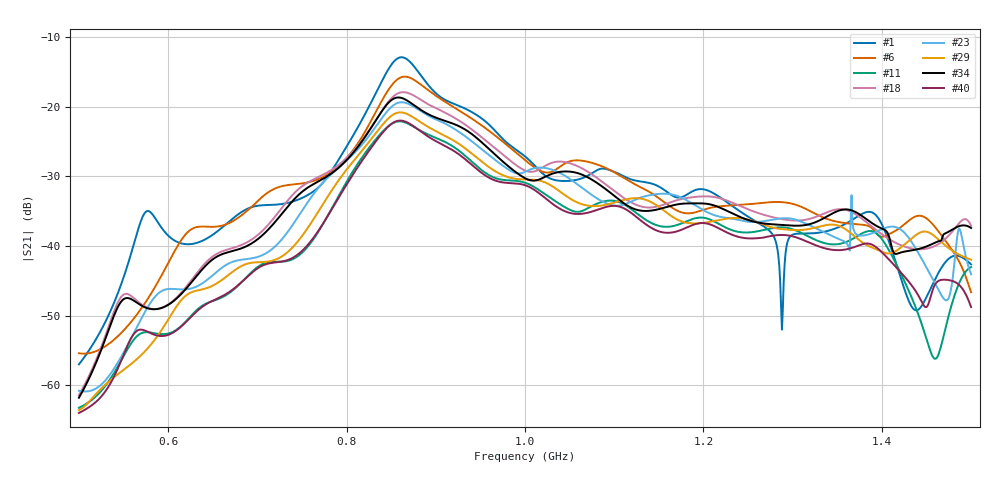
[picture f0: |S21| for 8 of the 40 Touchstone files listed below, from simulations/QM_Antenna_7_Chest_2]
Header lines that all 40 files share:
! TOUCHSTONE file generated by CST MICROWAVE STUDIO
! Header version: 2018
! Port assignment regex: !\s*Touchstone port\s*([0-9]+)\s*=\s*(CST MWS port|CST DS port)\s*([0-9]+|Zmin|Zmax)\s*\(\"(.*)\"\)(\s*mode\s*([0-9]+))?.*
! Touchstone port assignment:
! Touchstone port 1 = CST MWS port 1 ("")
! Touchstone port 2 = CST MWS port 2 ("")
# GHz S DB R 50
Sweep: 500 MHz to 1.5 GHz
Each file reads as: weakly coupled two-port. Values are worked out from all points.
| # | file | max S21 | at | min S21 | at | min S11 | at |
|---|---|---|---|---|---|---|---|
| 1 | 19_1.s2p | -12.89 dB | 862 MHz | -57.0 dB | 500 MHz | -20.0 dB | 1.375 GHz |
| 2 | 19_2.s2p | -15.90 dB | 866 MHz | -55.9 dB | 512 MHz | -33.1 dB | 1.298 GHz |
| 3 | 19_3.s2p | -17.66 dB | 864 MHz | -61.4 dB | 500 MHz | -25.3 dB | 1.238 GHz |
| 4 | 19_5.s2p | -20.73 dB | 861 MHz | -63.5 dB | 500 MHz | -36.8 dB | 1.254 GHz |
| 5 | 20_1.s2p | -12.56 dB | 861 MHz | -56.9 dB | 500 MHz | -19.3 dB | 1.374 GHz |
| 6 | 20_2.s2p | -15.68 dB | 865 MHz | -55.5 dB | 505 MHz | -41.3 dB | 1.298 GHz |
| 7 | 20_6.s2p | -22.18 dB | 858 MHz | -63.2 dB | 500 MHz | -26.7 dB | 1.215 GHz |
| 8 | 21_1.s2p | -12.46 dB | 860 MHz | -56.8 dB | 500 MHz | -18.5 dB | 1.372 GHz |
| 9 | 21_2.s2p | -15.49 dB | 866 MHz | -55.4 dB | 500 MHz | -50.2 dB | 1.297 GHz |
| 10 | 21_5.s2p | -20.77 dB | 860 MHz | -63.5 dB | 500 MHz | -34.9 dB | 1.254 GHz |
| 11 | 21_6.s2p | -22.10 dB | 859 MHz | -63.3 dB | 500 MHz | -27.0 dB | 1.215 GHz |
| 12 | 22_1.s2p | -12.58 dB | 861 MHz | -56.8 dB | 500 MHz | -18.3 dB | 1.479 GHz |
| 13 | 22_2.s2p | -15.43 dB | 866 MHz | -55.4 dB | 500 MHz | -40.3 dB | 1.297 GHz |
| 14 | 22_4.s2p | -19.29 dB | 863 MHz | -60.8 dB | 503 MHz | -32.5 dB | 1.299 GHz |
| 15 | 22_6.s2p | -22.18 dB | 858 MHz | -63.2 dB | 500 MHz | -26.7 dB | 1.215 GHz |
| 16 | 23_1.s2p | -12.59 dB | 861 MHz | -60.8 dB | 520 MHz | -17.6 dB | 1.371 GHz |
| 17 | 23_2.s2p | -15.61 dB | 865 MHz | -55.5 dB | 508 MHz | -36.9 dB | 1.296 GHz |
| 18 | 23_3.s2p | -17.91 dB | 863 MHz | -61.4 dB | 500 MHz | -22.8 dB | 1.239 GHz |
| 19 | 23_5.s2p | -20.80 dB | 860 MHz | -63.5 dB | 500 MHz | -37.6 dB | 1.255 GHz |
| 20 | 24_1.s2p | -12.63 dB | 862 MHz | -57.0 dB | 500 MHz | -18.2 dB | 1.37 GHz |
| 21 | 24_2.s2p | -15.72 dB | 866 MHz | -56.9 dB | 1.5 GHz | -37.4 dB | 1.296 GHz |
| 22 | 24_3.s2p | -17.92 dB | 867 MHz | -61.6 dB | 500 MHz | -22.3 dB | 1.24 GHz |
| 23 | 24_4.s2p | -19.36 dB | 862 MHz | -60.9 dB | 507 MHz | -29.2 dB | 1.299 GHz |
| 24 | 24_5.s2p | -20.81 dB | 860 MHz | -63.5 dB | 500 MHz | -39.4 dB | 1.255 GHz |
| 25 | 25_1.s2p | -13.02 dB | 862 MHz | -57.2 dB | 500 MHz | -18.3 dB | 1.374 GHz |
| 26 | 25_2.s2p | -16.04 dB | 866 MHz | -60.2 dB | 1.5 GHz | -42.2 dB | 1.297 GHz |
| 27 | 25_3.s2p | -18.40 dB | 859 MHz | -61.6 dB | 500 MHz | -20.7 dB | 1.241 GHz |
| 28 | 25_4.s2p | -19.40 dB | 862 MHz | -60.9 dB | 500 MHz | -28.1 dB | 1.299 GHz |
| 29 | 25_5.s2p | -20.81 dB | 860 MHz | -63.6 dB | 500 MHz | -41.3 dB | 1.256 GHz |
| 30 | 25_6.s2p | -22.10 dB | 859 MHz | -63.5 dB | 500 MHz | -28.0 dB | 788 MHz |
| 31 | 26_2.s2p | -16.48 dB | 865 MHz | -62.7 dB | 1.5 GHz | -51.4 dB | 1.297 GHz |
| 32 | 26_4.s2p | -19.38 dB | 862 MHz | -61.1 dB | 501 MHz | -27.4 dB | 1.3 GHz |
| 33 | 27_2.s2p | -16.91 dB | 866 MHz | -93.2 dB | 1.479 GHz | -36.3 dB | 1.298 GHz |
| 34 | 27_3.s2p | -18.67 dB | 858 MHz | -61.8 dB | 500 MHz | -19.3 dB | 1.242 GHz |
| 35 | 27_5.s2p | -20.79 dB | 860 MHz | -63.8 dB | 500 MHz | -40.6 dB | 1.257 GHz |
| 36 | 28_1.s2p | -14.93 dB | 865 MHz | -58.2 dB | 500 MHz | -20.7 dB | 1.377 GHz |
| 37 | 28_2.s2p | -17.42 dB | 865 MHz | -65.9 dB | 1.482 GHz | -30.0 dB | 1.298 GHz |
| 38 | 28_3.s2p | -18.78 dB | 859 MHz | -62.0 dB | 500 MHz | -18.9 dB | 1.243 GHz |
| 39 | 28_5.s2p | -20.81 dB | 861 MHz | -63.9 dB | 500 MHz | -41.5 dB | 1.258 GHz |
| 40 | 28_6.s2p | -21.99 dB | 860 MHz | -64.0 dB | 500 MHz | -34.5 dB | 789 MHz |
